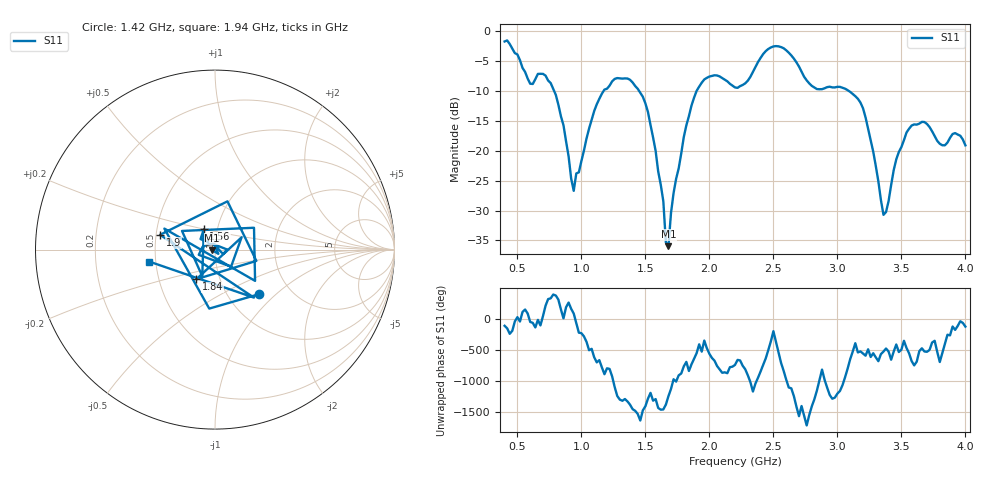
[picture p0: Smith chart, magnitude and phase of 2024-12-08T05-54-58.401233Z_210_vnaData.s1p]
!Created with skrf (http://scikit-rf.org).
# Hz S RI R 50.0
!freq ReS11 ImS11
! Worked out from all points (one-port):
!   181 points, 400 MHz to 4 GHz, reference 50 ohm
!   lowest |S11| = -36.0 dB at 1.68 GHz (marker M1), VSWR 1.03, Z = 48.5 - j0.299 ohm
!   |S11| at or under -10 dB: 786.8 MHz to 1.173 GHz (386.2 MHz wide, 39.4 % of centre); 1.451 GHz to 1.9 GHz (448.4 MHz wide, 26.8 % of centre); 3.09 GHz to end of sweep
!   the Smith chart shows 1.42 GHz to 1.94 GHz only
!   S11 on the Smith chart (normalised r, x): 1.42 GHz: 1.39, -0.79; 1.56 GHz: 0.86, +0.20; 1.84 GHz: 0.77, -0.26; 1.9 GHz: 0.53, +0.10; 1.94 GHz: 0.46, -0.07
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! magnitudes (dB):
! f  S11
! 400 MHz  -1.7
! 600 MHz  -8.8
! 720 MHz  -7.4
! 860 MHz  -15.7
! 940 MHz  -26.7
! 1.12 GHz  -12.2
! 1.3 GHz  -7.9
! 1.42 GHz  -9.2
! 1.5 GHz  -12.1
! 1.56 GHz  -17.8
! 1.64 GHz  -28.4
! 1.66 GHz  -35.3
! 1.68 GHz  -36.0
! 1.72 GHz  -27.1
! 1.76 GHz  -23.0
! 1.84 GHz  -14.2
! 1.9 GHz  -10.0
! 1.94 GHz  -8.6
! 2.2 GHz  -9.4
! 2.48 GHz  -2.7
! 2.66 GHz  -4.6
! 2.84 GHz  -9.7
! 3.1 GHz  -10.1
! 3.22 GHz  -14.4
! 3.36 GHz  -30.7
! 3.46 GHz  -21.4
! 3.56 GHz  -16.3
! 4 GHz  -19.1
